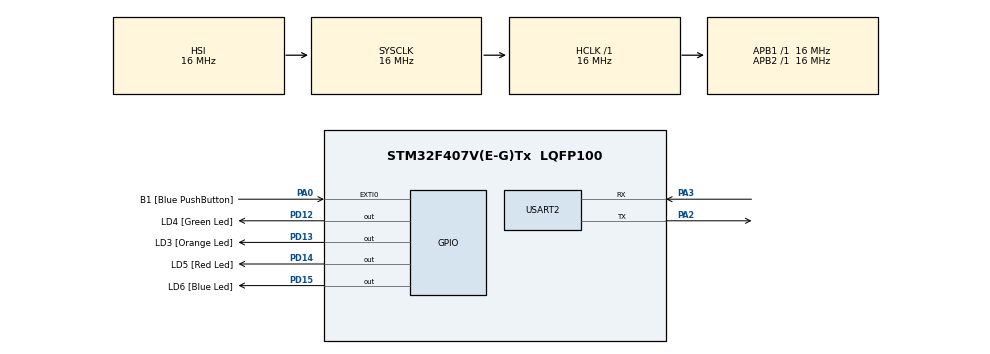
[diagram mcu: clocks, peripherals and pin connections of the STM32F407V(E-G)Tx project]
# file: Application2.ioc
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Mcu.Family=STM32F4
Mcu.Name=STM32F407V(E-G)Tx
Mcu.Package=LQFP100
NVIC.PriorityGroup=NVIC_PRIORITYGROUP_0
PA0-WKUP.GPIO_Label=B1 [Blue PushButton]
PA0-WKUP.GPIO_ModeDefaultEXTI=GPIO_MODE_EVT_RISING
PA0-WKUP.GPIO_PuPd=GPIO_NOPULL
PA0-WKUP.Signal=GPXTI0
PA13.GPIO_Label=SWDIO
PA13.Mode=Serial_Wire
PA13.Signal=SYS_JTMS-SWDIO
PA14.Mode=Serial_Wire
PA14.Signal=SYS_JTCK-SWCLK
PA2.Mode=Asynchronous
PA2.Signal=USART2_TX
PA3.Mode=Asynchronous
PA3.Signal=USART2_RX
PD12.GPIO_Label=LD4 [Green Led]
PD12.GPIO_PuPd=GPIO_NOPULL
PD12.GPIO_Speed=GPIO_SPEED_FREQ_LOW
PD12.Signal=GPIO_Output
PD13.GPIO_Label=LD3 [Orange Led]
PD13.GPIO_PuPd=GPIO_NOPULL
PD13.GPIO_Speed=GPIO_SPEED_FREQ_LOW
PD13.Signal=GPIO_Output
PD14.GPIO_Label=LD5 [Red Led]
PD14.GPIO_PuPd=GPIO_NOPULL
PD14.GPIO_Speed=GPIO_SPEED_FREQ_LOW
PD14.Signal=GPIO_Output
PD15.GPIO_Label=LD6 [Blue Led]
PD15.GPIO_PuPd=GPIO_NOPULL
PD15.GPIO_Speed=GPIO_SPEED_FREQ_LOW
PD15.Signal=GPIO_Output
ProjectManager.HeapSize=0x200
ProjectManager.StackSize=0x400
ProjectManager.TargetToolchain=STM32CubeIDE
RCC.48MHZClocksFreq_Value=96000000
RCC.AHBFreq_Value=16000000
RCC.APB1Freq_Value=16000000
RCC.APB1TimFreq_Value=16000000
RCC.APB2Freq_Value=16000000
RCC.APB2TimFreq_Value=16000000
RCC.CortexFreq_Value=16000000
RCC.HCLKFreq_Value=16000000
RCC.HSE_VALUE=8000000
RCC.HSI_VALUE=16000000
RCC.PLLM=8
RCC.PLLN=336
RCC.PLLQ=7
RCC.SYSCLKFreq_VALUE=16000000
RCC.VCOOutputFreq_Value=672000000
USART2.VirtualMode=VM_ASYNC
board=STM32F407G-DISC1

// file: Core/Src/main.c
/* USER CODE BEGIN Header */
/**
 ******************************************************************************
 * @file           : main.c
 * @brief          : Main program body
 ******************************************************************************
 * @attention
 *
 * Copyright (c) 2024 STMicroelectronics.
 * All rights reserved.
 *
 * This software is licensed under terms that can be found in the LICENSE file
 * in the root directory of this software component.
 * If no LICENSE file comes with this software, it is provided AS-IS.
 *
 ******************************************************************************
 */
/* USER CODE END Header */
#include "main.h"

/* USER CODE BEGIN Includes */
#include <stdint.h>
#include <stdbool.h>
#include <stdio.h>

/* USER CODE END Includes */

/* USER CODE BEGIN PD */

#define LED1_PORT GPIOD
#define LED1_PIN GPIO_PIN_12

#define LED2_PORT GPIOD
#define LED2_PIN GPIO_PIN_13

#define LED3_PORT GPIOD
#define LED3_PIN GPIO_PIN_14

#define LED4_PORT GPIOD
#define LED4_PIN GPIO_PIN_15

#define BTN_PORT GPIOA
#define BTM_PIN GPIO_PIN_0

/* USER CODE END PD */

UART_HandleTypeDef huart2;

void SystemClock_Config(void);
static void MX_GPIO_Init(void);
static void MX_USART2_UART_Init(void);
/* USER CODE BEGIN PFP */

static uint8_t ReadBtnState(void) {
	GPIO_PinState pinState = HAL_GPIO_ReadPin(BTN_PORT, BTM_PIN);
	return (pinState == GPIO_PIN_SET) ? 1U : 0U;
}

static void ToggleLeds(void) {
	(void) HAL_GPIO_TogglePin(LED2_PORT, LED2_PIN);
	(void) HAL_GPIO_TogglePin(LED3_PORT, LED3_PIN);
	(void) HAL_GPIO_TogglePin(LED3_PORT, LED4_PIN);
}

/* USER CODE END PFP */

int main(void) {

	/* MCU Configuration--------------------------------------------------------*/

	/* Reset of all peripherals, Initializes the Flash interface and the Systick. */
	HAL_Init();

	/* Configure the system clock */
	SystemClock_Config();

	/* Initialize all configured peripherals */
	MX_GPIO_Init();
	MX_USART2_UART_Init();
	/* USER CODE BEGIN 2 */
	(void)printf("/************ Application 2 Started ************/\r\n");
	/* USER CODE END 2 */

	/* Infinite loop */
	while (1) {

		/* USER CODE BEGIN 3 */
		(void)printf("Application 2 Running....\r\n");
		if (ReadBtnState() == 1U) {
			(void) HAL_GPIO_TogglePin(LED1_PORT, LED1_PIN);
		} else {
			(void) HAL_GPIO_WritePin(LED1_PORT, LED1_PIN, GPIO_PIN_RESET);
		}
		ToggleLeds();
		HAL_Delay(500U);
	}
	/* USER CODE END 3 */
}

void SystemClock_Config(void) {
	RCC_OscInitTypeDef RCC_OscInitStruct = { 0 };
	RCC_ClkInitTypeDef RCC_ClkInitStruct = { 0 };

	/** Configure the main internal regulator output voltage
	 */
	__HAL_RCC_PWR_CLK_ENABLE();
	__HAL_PWR_VOLTAGESCALING_CONFIG(PWR_REGULATOR_VOLTAGE_SCALE1);

	/** Initializes the RCC Oscillators according to the specified parameters
	 * in the RCC_OscInitTypeDef structure.
	 */
	RCC_OscInitStruct.OscillatorType = RCC_OSCILLATORTYPE_HSI;
	RCC_OscInitStruct.HSIState = RCC_HSI_ON;
	RCC_OscInitStruct.HSICalibrationValue = RCC_HSICALIBRATION_DEFAULT;
	RCC_OscInitStruct.PLL.PLLState = RCC_PLL_NONE;
	if (HAL_RCC_OscConfig(&RCC_OscInitStruct) != HAL_OK) {
		Error_Handler();
	}

	/** Initializes the CPU, AHB and APB buses clocks
	 */
	RCC_ClkInitStruct.ClockType = RCC_CLOCKTYPE_HCLK | RCC_CLOCKTYPE_SYSCLK
			| RCC_CLOCKTYPE_PCLK1 | RCC_CLOCKTYPE_PCLK2;
	RCC_ClkInitStruct.SYSCLKSource = RCC_SYSCLKSOURCE_HSI;
	RCC_ClkInitStruct.AHBCLKDivider = RCC_SYSCLK_DIV1;
	RCC_ClkInitStruct.APB1CLKDivider = RCC_HCLK_DIV1;
	RCC_ClkInitStruct.APB2CLKDivider = RCC_HCLK_DIV1;

	if (HAL_RCC_ClockConfig(&RCC_ClkInitStruct, FLASH_LATENCY_0) != HAL_OK) {
		Error_Handler();
	}
}

static void MX_USART2_UART_Init(void) {

	huart2.Instance = USART2;
	huart2.Init.BaudRate = 115200;
	huart2.Init.WordLength = UART_WORDLENGTH_8B;
	huart2.Init.StopBits = UART_STOPBITS_1;
	huart2.Init.Parity = UART_PARITY_NONE;
	huart2.Init.Mode = UART_MODE_TX_RX;
	huart2.Init.HwFlowCtl = UART_HWCONTROL_NONE;
	huart2.Init.OverSampling = UART_OVERSAMPLING_16;
	if (HAL_UART_Init(&huart2) != HAL_OK) {
		Error_Handler();
	}

}

static void MX_GPIO_Init(void) {
	GPIO_InitTypeDef GPIO_InitStruct = { 0 };

	/* GPIO Ports Clock Enable */
	__HAL_RCC_GPIOA_CLK_ENABLE();
	__HAL_RCC_GPIOD_CLK_ENABLE();

	/*Configure GPIO pin Output Level */
	HAL_GPIO_WritePin(GPIOD, LD4_Pin | LD3_Pin | LD5_Pin | LD6_Pin,
			GPIO_PIN_RESET);

	/*Configure GPIO pin : B1_Pin */
	GPIO_InitStruct.Pin = B1_Pin;
	GPIO_InitStruct.Mode = GPIO_MODE_EVT_RISING;
	GPIO_InitStruct.Pull = GPIO_NOPULL;
	HAL_GPIO_Init(B1_GPIO_Port, &GPIO_InitStruct);

	/*Configure GPIO pins : LD4_Pin LD3_Pin LD5_Pin LD6_Pin */
	GPIO_InitStruct.Pin = LD4_Pin | LD3_Pin | LD5_Pin | LD6_Pin;
	GPIO_InitStruct.Mode = GPIO_MODE_OUTPUT_PP;
	GPIO_InitStruct.Pull = GPIO_NOPULL;
	GPIO_InitStruct.Speed = GPIO_SPEED_FREQ_LOW;
	HAL_GPIO_Init(GPIOD, &GPIO_InitStruct);

}

/* USER CODE BEGIN 4 */

/*
 * Syscall required for 'printf()'
 */
int _write(int file, char *ptr, int len) {
	(void) file;
	int DataIdx;

	for (DataIdx = 0; DataIdx < len; DataIdx++) {
		(void) HAL_UART_Transmit(&huart2, (uint8_t*) ptr++, 1U, 100U);
	}
	return len;
}

/* USER CODE END 4 */

void Error_Handler(void) {
	__disable_irq();
	while (1) {
	}
}
